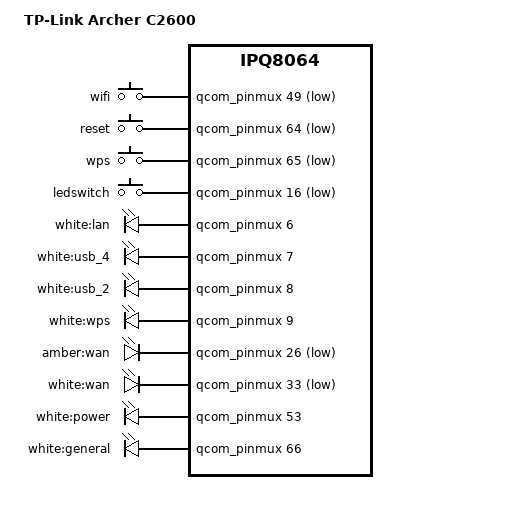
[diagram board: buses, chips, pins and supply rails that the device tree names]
#include "qcom-ipq8064-ad7200-c2600.dtsi"

/ {
	model = "TP-Link Archer C2600";
	compatible = "tplink,c2600", "qcom,ipq8064";

	aliases {
		led-boot = &power;
		led-failsafe = &general;
		led-running = &power;
		led-upgrade = &general;
	};

	keys {
		compatible = "gpio-keys";
		pinctrl-0 = <&button_pins>;
		pinctrl-names = "default";

		wifi {
			label = "wifi";
			gpios = <&qcom_pinmux 49 GPIO_ACTIVE_LOW>;
			linux,code = <KEY_RFKILL>;
			debounce-interval = <60>;
			wakeup-source;
		};

		reset {
			label = "reset";
			gpios = <&qcom_pinmux 64 GPIO_ACTIVE_LOW>;
			linux,code = <KEY_RESTART>;
			debounce-interval = <60>;
			wakeup-source;
		};

		wps {
			label = "wps";
			gpios = <&qcom_pinmux 65 GPIO_ACTIVE_LOW>;
			linux,code = <KEY_WPS_BUTTON>;
			debounce-interval = <60>;
			wakeup-source;
		};

		ledswitch {
			label = "ledswitch";
			gpios = <&qcom_pinmux 16 GPIO_ACTIVE_LOW>;
			linux,code = <KEY_LIGHTS_TOGGLE>;
			debounce-interval = <60>;
			wakeup-source;
		};
	};

	leds {
		compatible = "gpio-leds";
		pinctrl-0 = <&led_pins>;
		pinctrl-names = "default";

		lan {
			label = "white:lan";
			gpios = <&qcom_pinmux 6 GPIO_ACTIVE_HIGH>;
		};

		usb4 {
			label = "white:usb_4";
			gpios = <&qcom_pinmux 7 GPIO_ACTIVE_HIGH>;
		};

		usb2 {
			label = "white:usb_2";
			gpios = <&qcom_pinmux 8 GPIO_ACTIVE_HIGH>;
		};

		wps {
			label = "white:wps";
			gpios = <&qcom_pinmux 9 GPIO_ACTIVE_HIGH>;
		};

		wan_amber {
			label = "amber:wan";
			gpios = <&qcom_pinmux 26 GPIO_ACTIVE_LOW>;
		};

		wan_white {
			label = "white:wan";
			gpios = <&qcom_pinmux 33 GPIO_ACTIVE_LOW>;
		};

		power: power {
			label = "white:power";
			gpios = <&qcom_pinmux 53 GPIO_ACTIVE_HIGH>;
			default-state = "keep";
		};

		general: general {
			label = "white:general";
			gpios = <&qcom_pinmux 66 GPIO_ACTIVE_HIGH>;
		};
	};
};

&qcom_pinmux {
	button_pins: button_pins {
		mux {
			pins = "gpio16", "gpio54", "gpio65";
			function = "gpio";
			drive-strength = <2>;
			bias-pull-up;
		};
	};

	led_pins: led_pins {
		mux {
			pins = "gpio6", "gpio7", "gpio8", "gpio9", "gpio26", "gpio33",
					"gpio53", "gpio66";
			function = "gpio";
			drive-strength = <2>;
			bias-pull-up;
		};
	};
};
